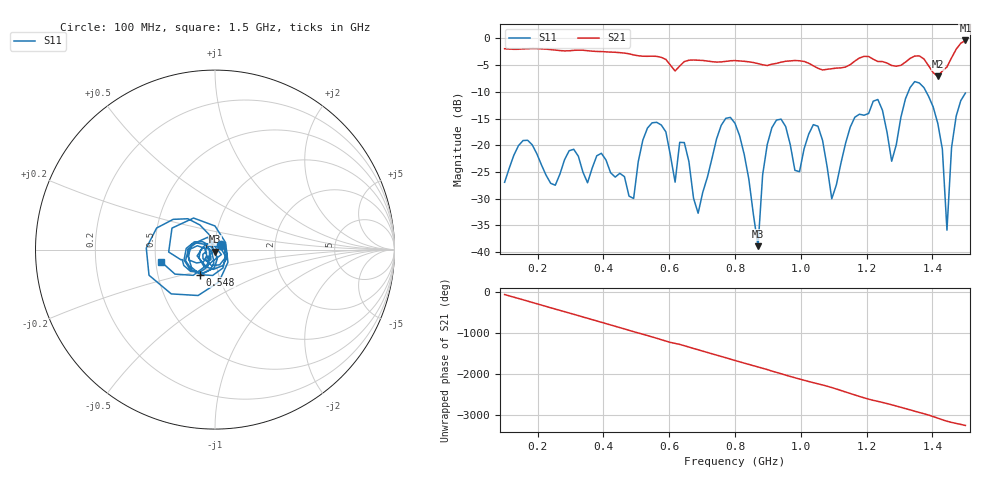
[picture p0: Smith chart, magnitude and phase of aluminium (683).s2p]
! NanoVNA-App
! Date: 2025-09-25 15:00:36
! Start: 100MHz Stop: 1,5GHz Points: 101
! S-Parameter data: F S11 S21 S12 S22
# Hz S RI R 50
!  Frequency  S11_Real  S11_Imag  S21_Real  S21_Imag  S12_Real  S12_Imag  S22_Real  S22_Imag
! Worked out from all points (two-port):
!   101 points, 100 MHz to 1.5 GHz, reference 50 ohm
!   highest |S21| = -0.37 dB at 1.5 GHz (marker M1); lowest = -7.1 dB at 1.416 GHz (marker M2)
!   |S21| within 3 dB of the highest: start of sweep to 563.5 MHz; 1.46 GHz to end of sweep (the widest 2 of 4)
!   lowest |S11| = -38.9 dB at 870 MHz (marker M3), VSWR 1.02, Z = 50.1 - j1.13 ohm
!   |S11| at or under -10 dB: start of sweep to 1.327 GHz; 1.381 GHz to end of sweep
!   S12 and S22 are empty: the file has one direction only
!   S11 on the Smith chart (normalised r, x): 100 MHz: 1.07, +0.06; 548 MHz: 0.82, -0.23; 1.5 GHz: 0.53, -0.08
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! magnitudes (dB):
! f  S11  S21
! 100 MHz  -27.0  -1.9
! 156 MHz  -19.1  -2.0
! 338 MHz  -25.1  -2.2
! 492 MHz  -30.0  -3.1
! 548 MHz  -15.8  -3.3
! 576 MHz  -16.2  -3.5
! 618 MHz  -26.9  -6.1
! 646 MHz  -19.5  -4.3
! 688 MHz  -32.8  -4.1
! 800 MHz  -15.9  -4.1
! 870 MHz  -38.9  -4.7
! 912 MHz  -16.7  -4.8
! 996 MHz  -25.0  -4.2
! 1.038 GHz  -16.2  -5.1
! 1.094 GHz  -30.0  -5.7
! 1.22 GHz  -11.8  -3.9
! 1.276 GHz  -23.0  -5.1
! 1.346 GHz  -8.1  -3.3
! 1.416 GHz  -15.9  -7.1
! 1.444 GHz  -35.9  -5.3
! 1.458 GHz  -20.4  -3.6
! 1.5 GHz  -10.2  -0.4
